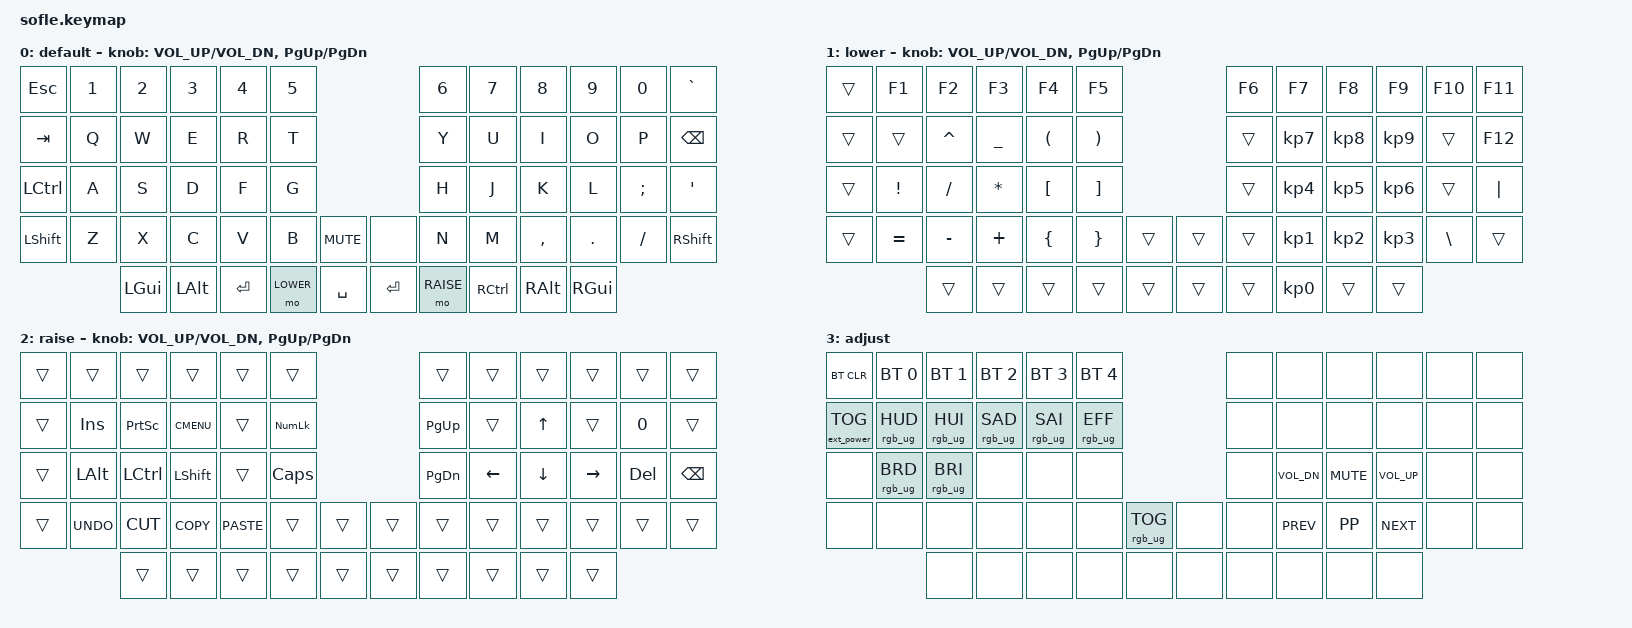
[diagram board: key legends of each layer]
/*
 * Copyright (c) 2020 The ZMK Contributors
 *
 * SPDX-License-Identifier: MIT
 */

#include <behaviors.dtsi>
#include <dt-bindings/zmk/keys.h>
#include <dt-bindings/zmk/bt.h>
#include <dt-bindings/zmk/rgb.h>
#include <dt-bindings/zmk/ext_power.h>

#define BASE 0
#define LOWER 1
#define RAISE 2
#define ADJUST 3

/ {

   // Activate ADJUST layer by pressing raise and lower
    conditional_layers {
        compatible = "zmk,conditional-layers";
        adjust_layer {
            if-layers = <LOWER RAISE>;
            then-layer = <ADJUST>;
        };
    };

    keymap {
        compatible = "zmk,keymap";

        default_layer {
            display-name = "default";
// ------------------------------------------------------------------------------------------------------------
// |  ESC  |  1  |  2  |  3   |  4   |  5   |                   |  6   |  7    |  8    |  9   |   0   |   `   |
// |  TAB  |  Q  |  W  |  E   |  R   |  T   |                   |  Y   |  U    |  I    |  O   |   P   | BKSPC |
// |  CTRL |  A  |  S  |  D   |  F   |  G   |                   |  H   |  J    |  K    |  L   |   ;   |   '   |
// | SHIFT |  Z  |  X  |  C   |  V   |  B   |  MUTE  |  |       |  N   |  M    |  ,    |  .   |   /   | SHIFT |
//               | GUI | ALT  | ENTR | LOWER|  SPACE |  | ENTER | RAISE| CTRL  | ALT   | GUI  |
            bindings = <
&kp ESC   &kp N1 &kp N2   &kp N3   &kp N4    &kp N5                            &kp N6 &kp N7    &kp N8    &kp N9   &kp N0   &kp GRAVE
&kp TAB   &kp Q  &kp W    &kp E    &kp R     &kp T                             &kp Y  &kp U     &kp I     &kp O    &kp P    &kp BSPC
&kp LCTRL &kp A  &kp S    &kp D    &kp F     &kp G                             &kp H  &kp J     &kp K     &kp L    &kp SEMI &kp SQT
&kp LSHFT &kp Z  &kp X    &kp C    &kp V     &kp B     &kp C_MUTE   &none      &kp N  &kp M     &kp COMMA &kp DOT  &kp FSLH &kp RSHFT
                 &kp LGUI &kp LALT &kp RET  &mo LOWER  &kp SPACE    &kp RET  &mo RAISE  &kp RCTRL &kp RALT  &kp RGUI
            >;

            sensor-bindings = <&inc_dec_kp C_VOL_UP C_VOL_DN &inc_dec_kp PG_UP PG_DN>;
        };

        lower_layer {
            display-name = "lower";
// TODO: Some binds are waiting for shifted keycode support.
// ------------------------------------------------------------------------------------------------------------
// |  ESC  |  F1 |  F2 |  F3  |  F4  |  F5  |                   |  F6  |  F7   |  F8   |  F9  |  F10  |  F11  |
// |  TAB  |     |  ^  |  _   |  (   |  )   |                   |      |  7    |  8    |  9   |       |  F12  |
// |  CTRL |  !  |  /  |  *   |  [   |  ]   |                   |      |  4    |  5    |  6   |       |   |   |
// |  SHFT |  =  |  -  |  +   |  {   |  }   |        |  |       |      |  1    |  2    |  3   |   \   |       |
//               |     |      |      |      |        |  |       |      |  0    |       |      |
            bindings = <
&trans    &kp F1    &kp F2    &kp F3      &kp F4    &kp F5                    &kp F6    &kp F7     &kp F8     &kp F9     &kp F10   &kp F11
&trans    &trans    &kp CARET &kp UNDER   &kp LPAR  &kp RPAR                  &trans    &kp KP_N7  &kp KP_N8  &kp KP_N9  &trans    &kp F12
&trans    &kp EXCL  &kp FSLH  &kp ASTRK   &kp LBKT  &kp RBKT                  &trans    &kp KP_N4  &kp KP_N5  &kp KP_N6  &trans    &kp PIPE
&trans    &kp EQUAL &kp MINUS &kp PLUS    &kp LBRC  &kp RBRC  &trans  &trans  &trans    &kp KP_N1  &kp KP_N2  &kp KP_N3  &kp BSLH  &trans
                    &trans    &trans      &trans    &trans    &trans  &trans  &trans    &kp KP_N0  &trans     &trans
            >;

            sensor-bindings = <&inc_dec_kp C_VOL_UP C_VOL_DN &inc_dec_kp PG_UP PG_DN>;
        };

        raise_layer {
            display-name = "raise";
// ------------------------------------------------------------------------------------------------------------
// |       |      |      |       |       |      |                |      |      |       |      |       |       |
// |       | INS  | PSCR | Menu  |       | NUML |                | PGUP |      |   ^   |      |       |       |
// |       | ALT  | CTRL | SHIFT |       | CAPS |                | PGDN |   <- |   v   |  ->  |  DEL  | BKSPC |
// |       | UNDO | CUT  | COPY  | PASTE |      |      |  |      |      |      |       |      |       |       |
//                |      |       |       |      |      |  |      |      |      |       |      |
            bindings = <
&trans     &trans       &trans       &trans       &trans       &trans                        &trans    &trans    &trans   &trans    &trans  &trans
&trans     &kp INS      &kp PSCRN    &kp K_CMENU  &trans       &kp KP_NUM                       &kp PG_UP &trans    &kp UP   &trans    &kp N0  &trans
&trans     &kp LALT     &kp LCTRL    &kp LSHFT    &trans       &kp CLCK                      &kp PG_DN &kp LEFT  &kp DOWN &kp RIGHT &kp DEL &kp BSPC
&trans     &kp K_UNDO   &kp K_CUT    &kp K_COPY   &kp K_PASTE  &trans        &trans  &trans  &trans    &trans    &trans   &trans    &trans  &trans
                        &trans       &trans       &trans       &trans        &trans  &trans  &trans    &trans    &trans   &trans
            >;

            sensor-bindings = <&inc_dec_kp C_VOL_UP C_VOL_DN &inc_dec_kp PG_UP PG_DN>;
        };

        adjust_layer {
// ----------------------------------------------------------------------------------------------------------------------------
// | BTCLR  |  BT1    |  BT2    |   BT3   |   BT4   |   BT5   |                  |      |      |       |      |       |       |
// | EXTPWR | RGB_HUD | RGB_HUI | RGB_SAD | RGB_SAI | RGB_EFF |                  |      |      |       |      |       |       |
// |        | RGB_BRD | RGB_BRI |         |         |         |                  |      |      |       |      |       |       |
// |        |         |         |         |         |         | RGB_TOG | |      |      |      |       |      |       |       |
//                    |         |         |         |         |         | |      |      |      |       |      |
            display-name = "adjust";
            bindings = <
&bt BT_CLR        &bt BT_SEL 0    &bt BT_SEL 1    &bt BT_SEL 2    &bt BT_SEL 3    &bt BT_SEL 4                             &none &none        &none      &none        &none &none
&ext_power EP_TOG &rgb_ug RGB_HUD &rgb_ug RGB_HUI &rgb_ug RGB_SAD &rgb_ug RGB_SAI &rgb_ug RGB_EFF                          &none &none        &none      &none        &none &none
&none             &rgb_ug RGB_BRD &rgb_ug RGB_BRI &none           &none           &none                                    &none &kp K_VOL_DN &kp K_MUTE &kp K_VOL_UP &none &none
&none             &none           &none           &none           &none           &none            &rgb_ug RGB_TOG  &none  &none &kp K_PREV   &kp K_PP   &kp K_NEXT   &none &none
                                  &none           &none           &none           &none            &none            &none  &none &none        &none      &none
            >;
        };

    };
};
